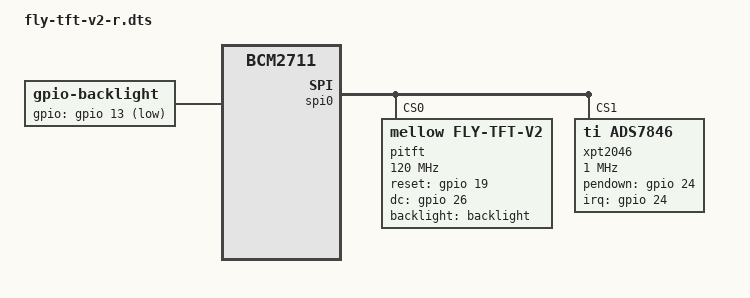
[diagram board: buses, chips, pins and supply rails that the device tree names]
/*
 * Device Tree overlay for Mellow fly TFT 3.5" resistive touchscreen
 *
 */

/dts-v1/;
/plugin/;

/ {
        compatible = "brcm,bcm2835",
                     "brcm,bcm2708",
                     "brcm,bcm2709",
                     "brcm,bcm2711";

        fragment@0 {
                target = <&spi0>;
                __overlay__ {
                        status = "okay";
                };
        };

        fragment@1 {
                target = <&spidev0>;
                __overlay__ {
                        status = "disabled";
                };
        };

        fragment@2 {
                target = <&spidev1>;
                __overlay__ {
                        status = "disabled";
                };
        };

        fragment@3 {
                target = <&gpio>;
                __overlay__ {
                        pitft_pins: pitft_pins {
                                brcm,pins = <24 6 26 19 13>; /* TH-INT TH-RST DC RST BLK */
                                brcm,function = <0 1 1 1 1>; /*   in    out   out out out */
                                brcm,pull = <2 2 0 0 2>; /* pullup none */
                        };
                };
        };

        fragment@4 {
                target-path = "/soc";
                __overlay__ {
                        backlight: backlight {
                                compatible = "gpio-backlight";
                                gpios = <&gpio 13 1>;
                                status = "okay";
                        };
                };
        };

        fragment@5 {
                target = <&spi0>;
                __overlay__ {
                        /* needed to avoid dtc warning */
                        #address-cells = <1>;
                        #size-cells = <0>;

                        pitft: pitft@0 {
                                compatible = "mellow,fly-tft-v2";
                                pinctrl-names = "default";
                                pinctrl-0 = <&pitft_pins>;
                                reg = <0>;

                                spi-max-frequency = <120000000>;
                                rotation = <90>;
                                reset-gpios = <&gpio 19 0>;
                                dc-gpios = <&gpio 26 0>;
                                backlight = <&backlight>;
                                status = "okay";
                        };

                        xpt2046: xpt2046@1 {
                                compatible = "ti,ads7846";
                                reg = <1>;

                                spi-max-frequency = <1000000>;
                                interrupt-parent = <&gpio>;
                                interrupts = <24 2>; /* high-to-low edge triggered */
                                pendown-gpio = <&gpio 24 0>;
                                ti,keep-vref-on = <1>;
                                ti,x-min = /bits/ 16 <3900>;
                                ti,x-max = /bits/ 16 <200>;
                                ti,y-min = /bits/ 16 <200>;
                                ti,y-max = /bits/ 16 <3900>;
                                ti,x-plate-ohms = /bits/ 16 <60>;
                                ti,pressure-max = /bits/ 16 <255>;
                                ti,swap-xy = <1>;
                                status = "okay";
                        };
                };
        };

        __overrides__ {
                speed =   <&pitft>,"spi-max-frequency: 0";
                rotation =  <&pitft>,"rotation: 0";
        };
};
